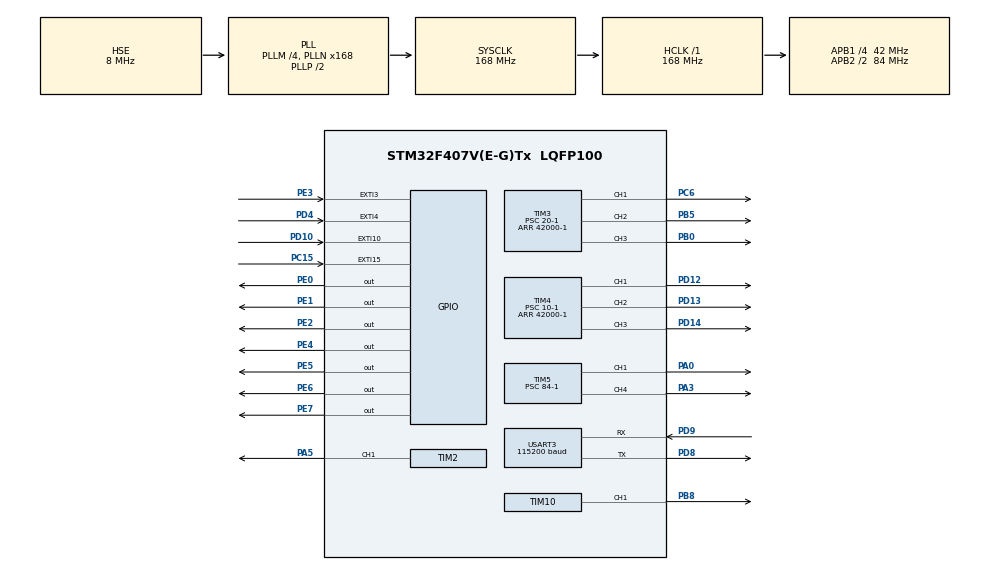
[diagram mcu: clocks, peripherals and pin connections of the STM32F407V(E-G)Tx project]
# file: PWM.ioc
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Mcu.Family=STM32F4
Mcu.Name=STM32F407V(E-G)Tx
Mcu.Package=LQFP100
NVIC.EXTI15_10_IRQn=true\:0\:0\:false\:false\:true\:true\:true
NVIC.EXTI3_IRQn=true\:0\:0\:false\:false\:true\:true\:true
NVIC.EXTI4_IRQn=true\:0\:0\:false\:false\:true\:true\:true
NVIC.PriorityGroup=NVIC_PRIORITYGROUP_4
NVIC.TIM7_IRQn=true\:0\:0\:false\:false\:true\:true\:true
NVIC.USART3_IRQn=true\:0\:0\:false\:false\:true\:true\:true
PA0-WKUP.Signal=S_TIM5_CH1
PA3.Signal=S_TIM5_CH4
PA5.Signal=S_TIM2_CH1_ETR
PB0.Signal=S_TIM3_CH3
PB5.Signal=S_TIM3_CH2
PB8.Signal=S_TIM10_CH1
PC15-OSC32_OUT.GPIO_ModeDefaultEXTI=GPIO_MODE_IT_RISING_FALLING
PC15-OSC32_OUT.Signal=GPXTI15
PC6.Signal=S_TIM3_CH1
PD10.GPIO_ModeDefaultEXTI=GPIO_MODE_IT_RISING_FALLING
PD10.Signal=GPXTI10
PD12.Signal=S_TIM4_CH1
PD13.Signal=S_TIM4_CH2
PD14.Signal=S_TIM4_CH3
PD4.GPIO_ModeDefaultEXTI=GPIO_MODE_IT_RISING_FALLING
PD4.Signal=GPXTI4
PD8.Mode=Asynchronous
PD8.Signal=USART3_TX
PD9.Mode=Asynchronous
PD9.Signal=USART3_RX
PE0.Signal=GPIO_Output
PE1.Signal=GPIO_Output
PE2.Signal=GPIO_Output
PE3.GPIO_ModeDefaultEXTI=GPIO_MODE_IT_RISING_FALLING
PE3.Signal=GPXTI3
PE4.Signal=GPIO_Output
PE5.Signal=GPIO_Output
PE6.Signal=GPIO_Output
PE7.Signal=GPIO_Output
PH0-OSC_IN.Mode=HSE-External-Oscillator
PH0-OSC_IN.Signal=RCC_OSC_IN
PH1-OSC_OUT.Mode=HSE-External-Oscillator
PH1-OSC_OUT.Signal=RCC_OSC_OUT
ProjectManager.HeapSize=0x200
ProjectManager.StackSize=0x400
ProjectManager.TargetToolchain=TrueSTUDIO
RCC.48MHZClocksFreq_Value=84000000
RCC.AHBFreq_Value=168000000
RCC.APB1CLKDivider=RCC_HCLK_DIV4
RCC.APB1Freq_Value=42000000
RCC.APB1TimFreq_Value=84000000
RCC.APB2CLKDivider=RCC_HCLK_DIV2
RCC.APB2Freq_Value=84000000
RCC.APB2TimFreq_Value=168000000
RCC.CortexFreq_Value=168000000
RCC.HCLKFreq_Value=168000000
RCC.HSE_VALUE=8000000
RCC.HSI_VALUE=16000000
RCC.LSE_VALUE=32768
RCC.PLLM=4
RCC.PLLN=168
RCC.PLLSourceVirtual=RCC_PLLSOURCE_HSE
RCC.SYSCLKFreq_VALUE=168000000
RCC.SYSCLKSource=RCC_SYSCLKSOURCE_PLLCLK
RCC.VCOOutputFreq_Value=336000000
SH.S_TIM10_CH1.0=TIM10_CH1,PWM Generation1 CH1
SH.S_TIM2_CH1_ETR.0=TIM2_CH1,PWM Generation1 CH1
SH.S_TIM3_CH1.0=TIM3_CH1,PWM Generation1 CH1
SH.S_TIM3_CH2.0=TIM3_CH2,PWM Generation2 CH2
SH.S_TIM3_CH3.0=TIM3_CH3,PWM Generation3 CH3
SH.S_TIM4_CH1.0=TIM4_CH1,PWM Generation1 CH1
SH.S_TIM4_CH2.0=TIM4_CH2,PWM Generation2 CH2
SH.S_TIM4_CH3.0=TIM4_CH3,PWM Generation3 CH3
SH.S_TIM5_CH1.0=TIM5_CH1,PWM Generation1 CH1
SH.S_TIM5_CH4.0=TIM5_CH4,PWM Generation4 CH4
TIM10.Channel=TIM_CHANNEL_1
TIM10.Period=10000-1
TIM10.Prescaler=336-1
TIM10.Pulse=100
TIM2.AutoReloadPreload=TIM_AUTORELOAD_PRELOAD_DISABLE
TIM2.Channel-PWM\ Generation1\ CH1=TIM_CHANNEL_1
TIM2.Period=1000-1
TIM2.Prescaler=168-1
TIM2.Pulse-PWM\ Generation1\ CH1=500
TIM3.Channel-PWM\ Generation1\ CH1=TIM_CHANNEL_1
TIM3.Channel-PWM\ Generation2\ CH2=TIM_CHANNEL_2
TIM3.Channel-PWM\ Generation3\ CH3=TIM_CHANNEL_3
TIM3.Period=42000-1
TIM3.Prescaler=20-1
TIM3.Pulse-PWM\ Generation1\ CH1=21000-1
TIM3.Pulse-PWM\ Generation2\ CH2=15000-1
TIM3.Pulse-PWM\ Generation3\ CH3=5250-1
TIM4.Channel-PWM\ Generation1\ CH1=TIM_CHANNEL_1
TIM4.Channel-PWM\ Generation2\ CH2=TIM_CHANNEL_2
TIM4.Channel-PWM\ Generation3\ CH3=TIM_CHANNEL_3
TIM4.Period=42000-1
TIM4.Prescaler=10-1
TIM4.Pulse-PWM\ Generation1\ CH1=21000-1
TIM4.Pulse-PWM\ Generation2\ CH2=10500-1
TIM4.Pulse-PWM\ Generation3\ CH3=5250-1
TIM5.Channel-PWM\ Generation1\ CH1=TIM_CHANNEL_1
TIM5.Channel-PWM\ Generation4\ CH4=TIM_CHANNEL_4
TIM5.Period=10000-1
TIM5.Prescaler=84-1
TIM5.Pulse-PWM\ Generation1\ CH1=5000
TIM7.AutoReloadPreload=TIM_AUTORELOAD_PRELOAD_ENABLE
TIM7.Period=8399
TIM7.Prescaler=9999
USART3.BaudRate=115200
USART3.VirtualMode=VM_ASYNC
VP_TIM10_VS_ClockSourceINT.Mode=Enable_Timer
VP_TIM2_VS_ClockSourceINT.Mode=Internal
VP_TIM3_VS_ClockSourceINT.Mode=Internal
VP_TIM4_VS_ClockSourceINT.Mode=Internal
VP_TIM5_VS_ClockSourceINT.Mode=Internal
VP_TIM7_VS_ClockSourceINT.Mode=Enable_Timer
board=custom

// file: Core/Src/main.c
/* USER CODE BEGIN Header */
/**
  ******************************************************************************
  * @file           : main.c
  * @brief          : Main program body
  ******************************************************************************
  * @attention
  *
  * <h2><center>&copy; Copyright (c) 2020 STMicroelectronics.
  * All rights reserved.</center></h2>
  *
  * This software component is licensed by ST under BSD 3-Clause license,
  * the "License"; You may not use this file except in compliance with the
  * License. You may obtain a copy of the License at:
  *                        opensource.org/licenses/BSD-3-Clause
  *
  ******************************************************************************
  */
/* USER CODE END Header */
#include "main.h"
#include "tim.h"
#include "usart.h"
#include "gpio.h"

/* USER CODE BEGIN Includes */
#include	"init.h"
#include	"clcd.h"
/* USER CODE END Includes */

void SystemClock_Config(void);

int main(void)
{

  /* MCU Configuration--------------------------------------------------------*/

  /* Reset of all peripherals, Initializes the Flash interface and the Systick. */
  HAL_Init();

  /* Configure the system clock */
  SystemClock_Config();

  /* Initialize all configured peripherals */
  MX_GPIO_Init();
  MX_USART3_UART_Init();
  MX_TIM7_Init();
  MX_TIM3_Init();
  MX_TIM4_Init();
  MX_TIM10_Init();
  MX_TIM2_Init();
  MX_TIM5_Init();
  /* USER CODE BEGIN 2 */
  CLCD_Init();
  CLCD_Puts(0,0,"PWM");

  HAL_TIM_PWM_Start(&htim3, TIM_CHANNEL_1);
  HAL_TIM_PWM_Start(&htim3, TIM_CHANNEL_2);
  HAL_TIM_PWM_Start(&htim3, TIM_CHANNEL_3);

  HAL_TIM_PWM_Start(&htim4, TIM_CHANNEL_1);
  HAL_TIM_PWM_Start(&htim4, TIM_CHANNEL_2);
  HAL_TIM_PWM_Start(&htim4, TIM_CHANNEL_3);

  HAL_TIM_PWM_Start(&htim10, TIM_CHANNEL_1);

  //HAL_TIM_PWM_Start(&htim2, TIM_CHANNEL_1);

  HAL_TIM_PWM_Start(&htim5, TIM_CHANNEL_1);
  HAL_TIM_PWM_Start(&htim5, TIM_CHANNEL_4);

  /* USER CODE END 2 */

  /* Infinite loop */
  while (1)
  {

  }
}

void SystemClock_Config(void)
{
  RCC_OscInitTypeDef RCC_OscInitStruct = {0};
  RCC_ClkInitTypeDef RCC_ClkInitStruct = {0};

  /** Configure the main internal regulator output voltage
  */
  __HAL_RCC_PWR_CLK_ENABLE();
  __HAL_PWR_VOLTAGESCALING_CONFIG(PWR_REGULATOR_VOLTAGE_SCALE1);
  /** Initializes the RCC Oscillators according to the specified parameters
  * in the RCC_OscInitTypeDef structure.
  */
  RCC_OscInitStruct.OscillatorType = RCC_OSCILLATORTYPE_HSE;
  RCC_OscInitStruct.HSEState = RCC_HSE_ON;
  RCC_OscInitStruct.PLL.PLLState = RCC_PLL_ON;
  RCC_OscInitStruct.PLL.PLLSource = RCC_PLLSOURCE_HSE;
  RCC_OscInitStruct.PLL.PLLM = 4;
  RCC_OscInitStruct.PLL.PLLN = 168;
  RCC_OscInitStruct.PLL.PLLP = RCC_PLLP_DIV2;
  RCC_OscInitStruct.PLL.PLLQ = 4;
  if (HAL_RCC_OscConfig(&RCC_OscInitStruct) != HAL_OK)
  {
    Error_Handler();
  }
  /** Initializes the CPU, AHB and APB buses clocks
  */
  RCC_ClkInitStruct.ClockType = RCC_CLOCKTYPE_HCLK|RCC_CLOCKTYPE_SYSCLK
                              |RCC_CLOCKTYPE_PCLK1|RCC_CLOCKTYPE_PCLK2;
  RCC_ClkInitStruct.SYSCLKSource = RCC_SYSCLKSOURCE_PLLCLK;
  RCC_ClkInitStruct.AHBCLKDivider = RCC_SYSCLK_DIV1;
  RCC_ClkInitStruct.APB1CLKDivider = RCC_HCLK_DIV4;
  RCC_ClkInitStruct.APB2CLKDivider = RCC_HCLK_DIV2;

  if (HAL_RCC_ClockConfig(&RCC_ClkInitStruct, FLASH_LATENCY_5) != HAL_OK)
  {
    Error_Handler();
  }
}

/* USER CODE BEGIN 4 */
#define	MAX_SCALE	4

#define	TRUE	1
#define	FALSE	0

const int	prescaler[MAX_SCALE] = {32061,28571,25455,24069};
const int	autoreload[MAX_SCALE] = {10,10,10,10};

void	HAL_GPIO_EXTI_Callback(uint16_t GPIO_Pin)
{
	switch(GPIO_Pin)
	{
		case	GPIO_PIN_3:		// SW1
			if( HAL_GPIO_ReadPin(GPIOE,GPIO_PIN_3) == GPIO_PIN_SET )
			{
				__HAL_TIM_SET_PRESCALER(&htim2,prescaler[0]);
				__HAL_TIM_SET_AUTORELOAD(&htim2,autoreload[0]);
				__HAL_TIM_SET_COMPARE(&htim2,TIM_CHANNEL_1,__HAL_TIM_GET_AUTORELOAD(&htim2)/2);
				HAL_TIM_PWM_Start(&htim2, TIM_CHANNEL_1);
			}
			else
			{
				__HAL_TIM_SET_COMPARE(&htim2,TIM_CHANNEL_1,0);
			}
			break;
		case	GPIO_PIN_15:	// SW2
			if( HAL_GPIO_ReadPin(GPIOC,GPIO_PIN_15) == GPIO_PIN_SET )
			{
				__HAL_TIM_SET_PRESCALER(&htim2,prescaler[1]);
				__HAL_TIM_SET_AUTORELOAD(&htim2,autoreload[1]);
				__HAL_TIM_SET_COMPARE(&htim2,TIM_CHANNEL_1,__HAL_TIM_GET_AUTORELOAD(&htim2)/2);
				HAL_TIM_PWM_Start(&htim2, TIM_CHANNEL_1);
			}
			else
			{
				__HAL_TIM_SET_COMPARE(&htim2,TIM_CHANNEL_1,0);
			}
			break;
		case	GPIO_PIN_4:		// SW3
			if( HAL_GPIO_ReadPin(GPIOD,GPIO_PIN_4) == GPIO_PIN_SET )
			{
				__HAL_TIM_SET_PRESCALER(&htim2,prescaler[2]);
				__HAL_TIM_SET_AUTORELOAD(&htim2,autoreload[2]);
				__HAL_TIM_SET_COMPARE(&htim2,TIM_CHANNEL_1,__HAL_TIM_GET_AUTORELOAD(&htim2)/2);
				HAL_TIM_PWM_Start(&htim2, TIM_CHANNEL_1);
			}
			else
			{
				__HAL_TIM_SET_COMPARE(&htim2,TIM_CHANNEL_1,0);
			}
			break;
		case	GPIO_PIN_10:	// SW4
			if( HAL_GPIO_ReadPin(GPIOD,GPIO_PIN_10) == GPIO_PIN_SET )
			{
				__HAL_TIM_SET_PRESCALER(&htim2,prescaler[3]);
				__HAL_TIM_SET_AUTORELOAD(&htim2,autoreload[3]);
				__HAL_TIM_SET_COMPARE(&htim2,TIM_CHANNEL_1,__HAL_TIM_GET_AUTORELOAD(&htim2)/2);
				HAL_TIM_PWM_Start(&htim2, TIM_CHANNEL_1);
			}
			else
			{
				__HAL_TIM_SET_COMPARE(&htim2,TIM_CHANNEL_1,0);
			}
			break;
		default:
			// do nothing
			break;
	}
}
/* USER CODE END 4 */

void Error_Handler(void)
{
}

/************************ (C) COPYRIGHT STMicroelectronics *****END OF FILE****/
